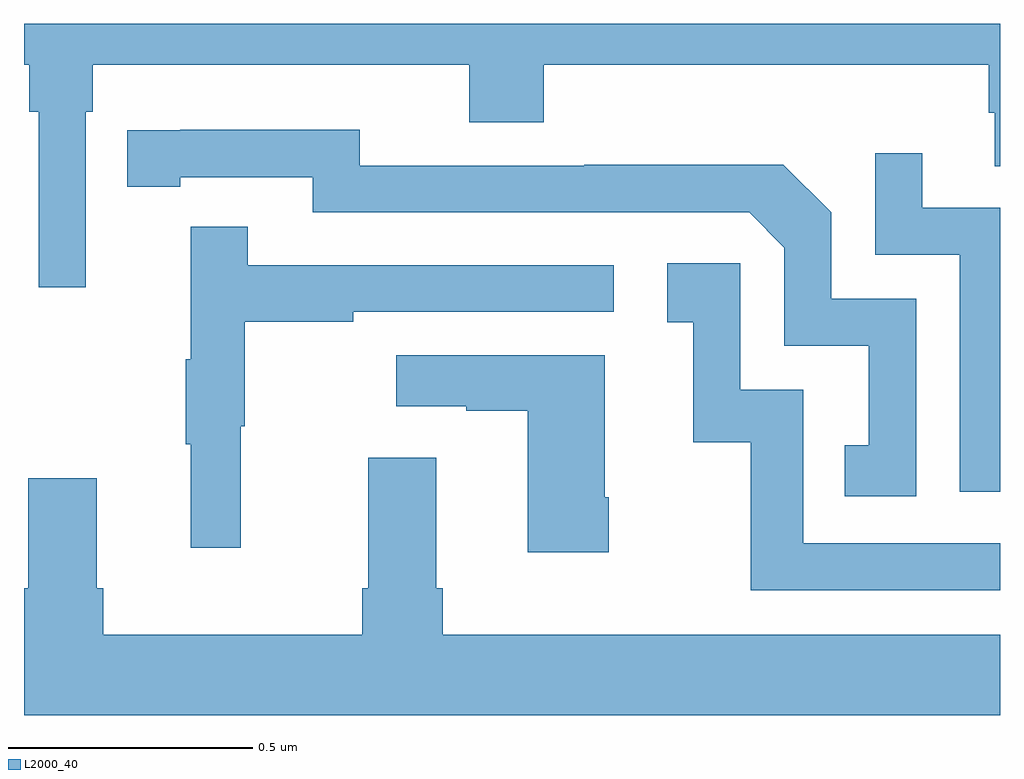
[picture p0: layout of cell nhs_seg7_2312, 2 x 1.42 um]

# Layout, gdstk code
import gdstk
lib = gdstk.Library(unit=1e-6, precision=1e-09)
def P(c, l, *ps):  # polygons
    for p in ps: c.add(gdstk.Polygon(p, *l))
L2000_40 = (2000, 40)

nhs_seg7_2312 = lib.new_cell('nhs_seg7_2312')
P(nhs_seg7_2312, L2000_40, [(143.127,1033.82),(143.141,1033.82),(143.141,1033.916),(143.912,1033.916),(143.912,1033.799),(144.065,1033.799),(144.065,1033.916),(144.977,1033.916),(144.977,1033.818),(144.989,1033.818),(144.989,1033.708),(145,1033.708),(145,1034),(143,1034),(143,1033.916),(143.011,1033.916),(143.011,1033.82),(143.03,1033.82),(143.03,1033.461),(143.127,1033.461)],
  [(144.828,1033.437),(144.654,1033.437),(144.654,1033.614),(144.556,1033.712),(144.148,1033.712),(144.148,1033.71),(143.688,1033.71),(143.688,1033.783),(143.32,1033.783),(143.32,1033.782),(143.212,1033.782),(143.212,1033.666),(143.32,1033.666),(143.32,1033.686),(143.592,1033.686),(143.592,1033.614),(144.486,1033.614),(144.558,1033.542),(144.558,1033.341),(144.731,1033.341),(144.731,1033.137),(144.682,1033.137),(144.682,1033.032),(144.828,1033.032)],
  [(145,1033.623),(144.841,1033.623),(144.841,1033.735),(144.744,1033.735),(144.744,1033.527),(144.918,1033.527),(144.918,1033.041),(145,1033.041)],
  [(143.444,1033.176),(143.452,1033.176),(143.452,1033.39),(143.675,1033.39),(143.675,1033.41),(144.208,1033.41),(144.208,1033.506),(143.459,1033.506),(143.459,1033.585),(143.342,1033.585),(143.342,1033.313),(143.331,1033.313),(143.331,1033.139),(143.342,1033.139),(143.342,1032.927),(143.444,1032.927)],
  [(145,1032.936),(144.597,1032.936),(144.597,1033.251),(144.468,1033.251),(144.468,1033.51),(144.318,1033.51),(144.318,1033.389),(144.371,1033.389),(144.371,1033.143),(144.489,1033.143),(144.489,1032.84),(145,1032.84)],
  [(144.198,1033.03),(144.19,1033.03),(144.19,1033.321),(143.763,1033.321),(143.763,1033.217),(143.906,1033.217),(143.906,1033.207),(144.032,1033.207),(144.032,1032.918),(144.198,1032.918)],
  [(145,1032.748),(143.858,1032.748),(143.858,1032.844),(143.845,1032.844),(143.845,1033.111),(143.705,1033.111),(143.705,1032.844),(143.693,1032.844),(143.693,1032.748),(143.162,1032.748),(143.162,1032.844),(143.149,1032.844),(143.149,1033.069),(143.009,1033.069),(143.009,1032.844),(143,1032.844),(143,1032.584),(145,1032.584)])

lib.write_gds('nhs_seg7_2312.gds')
